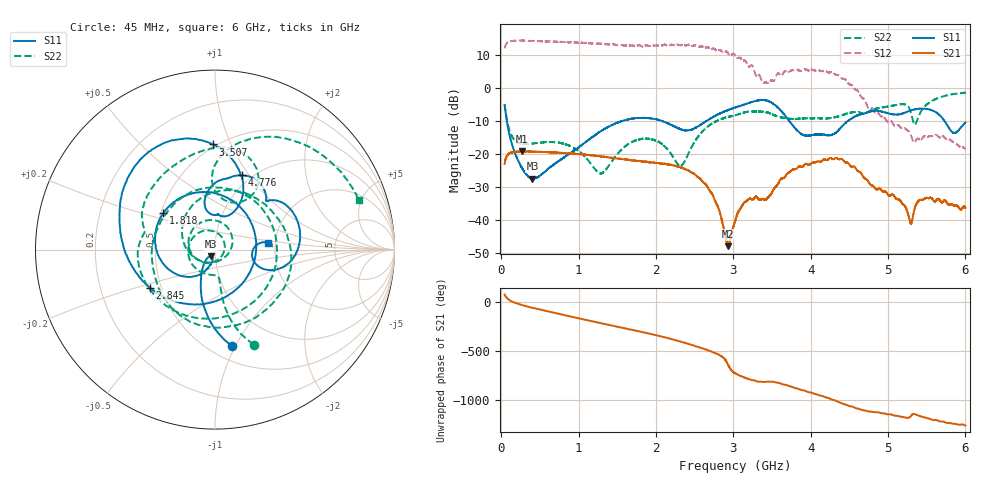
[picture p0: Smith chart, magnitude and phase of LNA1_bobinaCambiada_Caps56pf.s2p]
!Agilent Technologies,E8364A,US41440144,A.06.04.32
!Agilent E8364A: A.06.04.32
!Date: Thursday, November 08, 2018 15:39:47
!Correction: S11(Full 2 Port(1,2)) S21(Full 2 Port(1,2)) S12(Full 2 Port(1,2)) S22(Full 2 Port(1,2))
!S2P File: Measurements: S11, S21, S12, S22:
# Hz S  dB  R 50
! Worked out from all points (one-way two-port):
!   16001 points, 45 MHz to 6 GHz, reference 50 ohm
!   highest |S21| = -19.18 dB at 268.3 MHz (marker M1); lowest = -47.9 dB at 2.931 GHz (marker M2)
!   lowest |S11| = -27.5 dB at 404.9 MHz (marker M3), VSWR 1.09, Z = 47.9 - j3.56 ohm
!   |S11| at or under -10 dB: 73.27 MHz to 1.562 GHz (1.489 GHz wide, 182 % of centre); 2.08 GHz to 2.653 GHz (572.6 MHz wide, 24.2 % of centre); 3.724 GHz to 4.481 GHz (757.6 MHz wide, 18.5 % of centre)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
!   |S22| runs from -26.0 to -1.4 dB; largest |S21 - S12| = 5.3
!   S11 on the Smith chart (normalised r, x): 45 MHz: 0.63, -0.96; 1.818 GHz: 0.51, +0.24; 2.845 GHz: 0.43, -0.22; 3.507 GHz: 0.48, +0.86; 4.776 GHz: 0.90, +0.93; 6 GHz: 1.83, +0.16
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4.5e7  -5.29 -80.2  -23.01 77.2  11.97 -134.1  -4.86 -67.9
1.235316e8  -15.67 -117.6  -19.63 12.7  14.18 177.9  -13.81 -81.7
2.683125e8  -24.15 -131.7  -19.18 -30.2  14.34 138.3  -16.86 -89.1
4.049053e8  -27.49 -118.6  -19.31 -58.6  14.26 108.8  -16.80 -109.8
7.659272e8  -21.80 -105.5  -19.63 -124.4  13.98 36.8  -16.67 169.9
1.037624e9  -17.36 -116.0  -20.12 -172.3  13.68 -16.4  -19.81 94.5
1.425443e9  -11.31 -153.8  -21.14 121.0  13.23 -91.0  -22.42 -107.5
1.818473e9  -9.06 145.1  -22.26 53.8  12.61 -166.1  -15.40 132.6
2.030248e9  -9.66 103.1  -22.74 16.1  12.86 153.7  -16.26 75.4
2.230485e9  -11.56 50.0  -23.52 -24.2  12.97 113.2  -21.22 -0.5
2.408763e9  -12.84 -17.3  -24.85 -64.7  13.00 74.8  -20.44 -134.5
2.654407e9  -9.98 -105.8  -29.52 -128.6  12.32 18.6  -12.01 130.5
2.844967e9  -7.52 -149.6  -39.40 166.2  11.25 -27.5  -9.39 77.5
2.930942e9  -6.73 -165.1  -47.92 83.0  10.62 -49.1  -8.81 54.7
3.0225e9  -5.93 -180.0  -40.53 -6.3  9.87 -69.7  -8.28 31.3
3.254745e9  -4.14 143.6  -33.70 -78.8  6.39 -124.6  -7.15 -40.4
3.507088e9  -4.64 91.3  -31.38 -94.8  2.22 -131.4  -8.01 -131.2
4.015124e9  -14.24 82.6  -22.71 151.6  5.49 125.7  -9.21 77.1
4.371308e9  -12.49 102.8  -21.62 55.9  3.70 30.7  -8.50 -79.6
4.775875e9  -7.08 69.8  -29.31 -39.9  -6.01 -54.5  -6.81 152.9
5.007748e9  -7.71 46.3  -32.55 -68.6  -10.09 -80.4  -5.58 112.8
6e9  -10.49 7.5  -36.28 178.1  -18.48 155.6  -1.42 18.8
